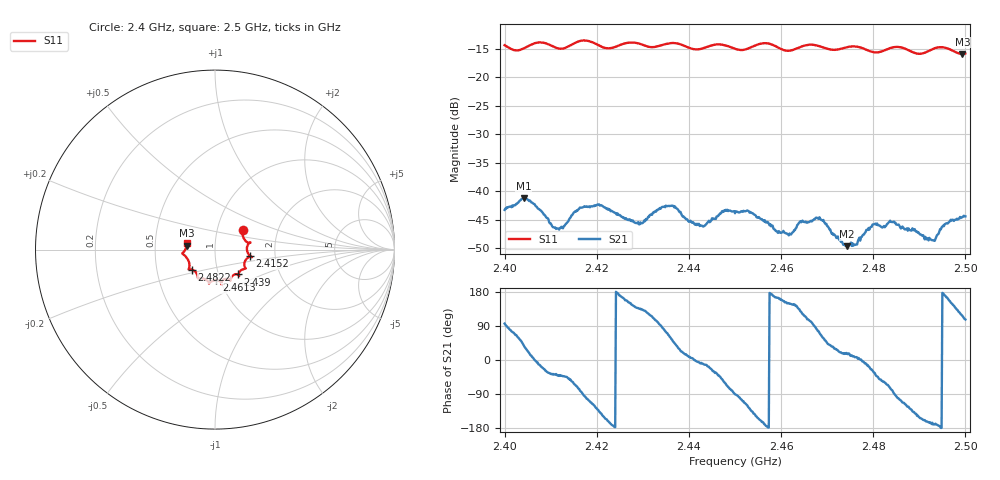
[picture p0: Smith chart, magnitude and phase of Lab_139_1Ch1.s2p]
# Hz S RI R 50
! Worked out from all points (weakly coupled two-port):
!   601 points, 2.4 GHz to 2.5 GHz, reference 50 ohm
!   highest |S21| = -41.21 dB at 2.4042 GHz (marker M1); lowest = -49.7 dB at 2.4743 GHz (marker M2)
!   lowest |S11| = -15.9 dB at 2.4993 GHz (marker M3), VSWR 1.38, Z = 36.3 + j1.63 ohm
!   |S11| at or under -10 dB: start of sweep to end of sweep
!   S12 and S22 are empty: the file has one direction only
!   S11 on the Smith chart (normalised r, x): 2.4 GHz: 1.33, +0.30; 2.4152 GHz: 1.48, -0.11; 2.439 GHz: 1.24, -0.36; 2.4613 GHz: 0.96, -0.34; 2.4822 GHz: 0.76, -0.17; 2.5 GHz: 0.73, +0.05
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2.4e9  0.1553 0.1104  -0.000729 0.0068  0 0  0 0
2.404167e9  0.1728 0.0462  0.00682 0.00539  0 0  0 0
2.411333e9  0.1793 0.0165  0.00361 -0.00301  0 0  0 0
2.415167e9  0.1954 -0.0364  0.00285 -0.0059  0 0  0 0
2.416667e9  0.2049 -0.0424  0.000701 -0.00711  0 0  0 0
2.420667e9  0.1823 -0.046  -0.00549 -0.00504  0 0  0 0
2.428833e9  0.1686 -0.1054  -0.00383 0.00354  0 0  0 0
2.433333e9  0.132 -0.1325  -0.00102 0.00684  0 0  0 0
2.4365e9  0.1347 -0.1471  0.00477 0.00566  0 0  0 0
2.439e9  0.1278 -0.1385  0.00562 0.00165  0 0  0 0
2.443e9  0.091 -0.1542  0.00483 -0.000822  0 0  0 0
2.45e9  0.0685 -0.1638  -3.27e-05 -0.00639  0 0  0 0
2.461333e9  0.00761 -0.1702  -0.00362 0.00215  0 0  0 0
2.466667e9  -0.0332 -0.1899  -0.000822 0.00534  0 0  0 0
2.468833e9  -0.0352 -0.1808  0.00256 0.00494  0 0  0 0
2.474333e9  -0.0883 -0.1609  0.00315 0.000943  0 0  0 0
2.48e9  -0.1066 -0.1269  0.00439 -0.00258  0 0  0 0
2.482167e9  -0.1281 -0.1121  0.00261 -0.00411  0 0  0 0
2.483333e9  -0.1395 -0.1104  0.00196 -0.00493  0 0  0 0
2.493e9  -0.1751 -0.0274  -0.00365 -0.000623  0 0  0 0
2.499333e9  -0.1586 0.0219  -0.00266 0.00527  0 0  0 0
2.5e9  -0.158 0.0341  -0.00174 0.00574  0 0  0 0
